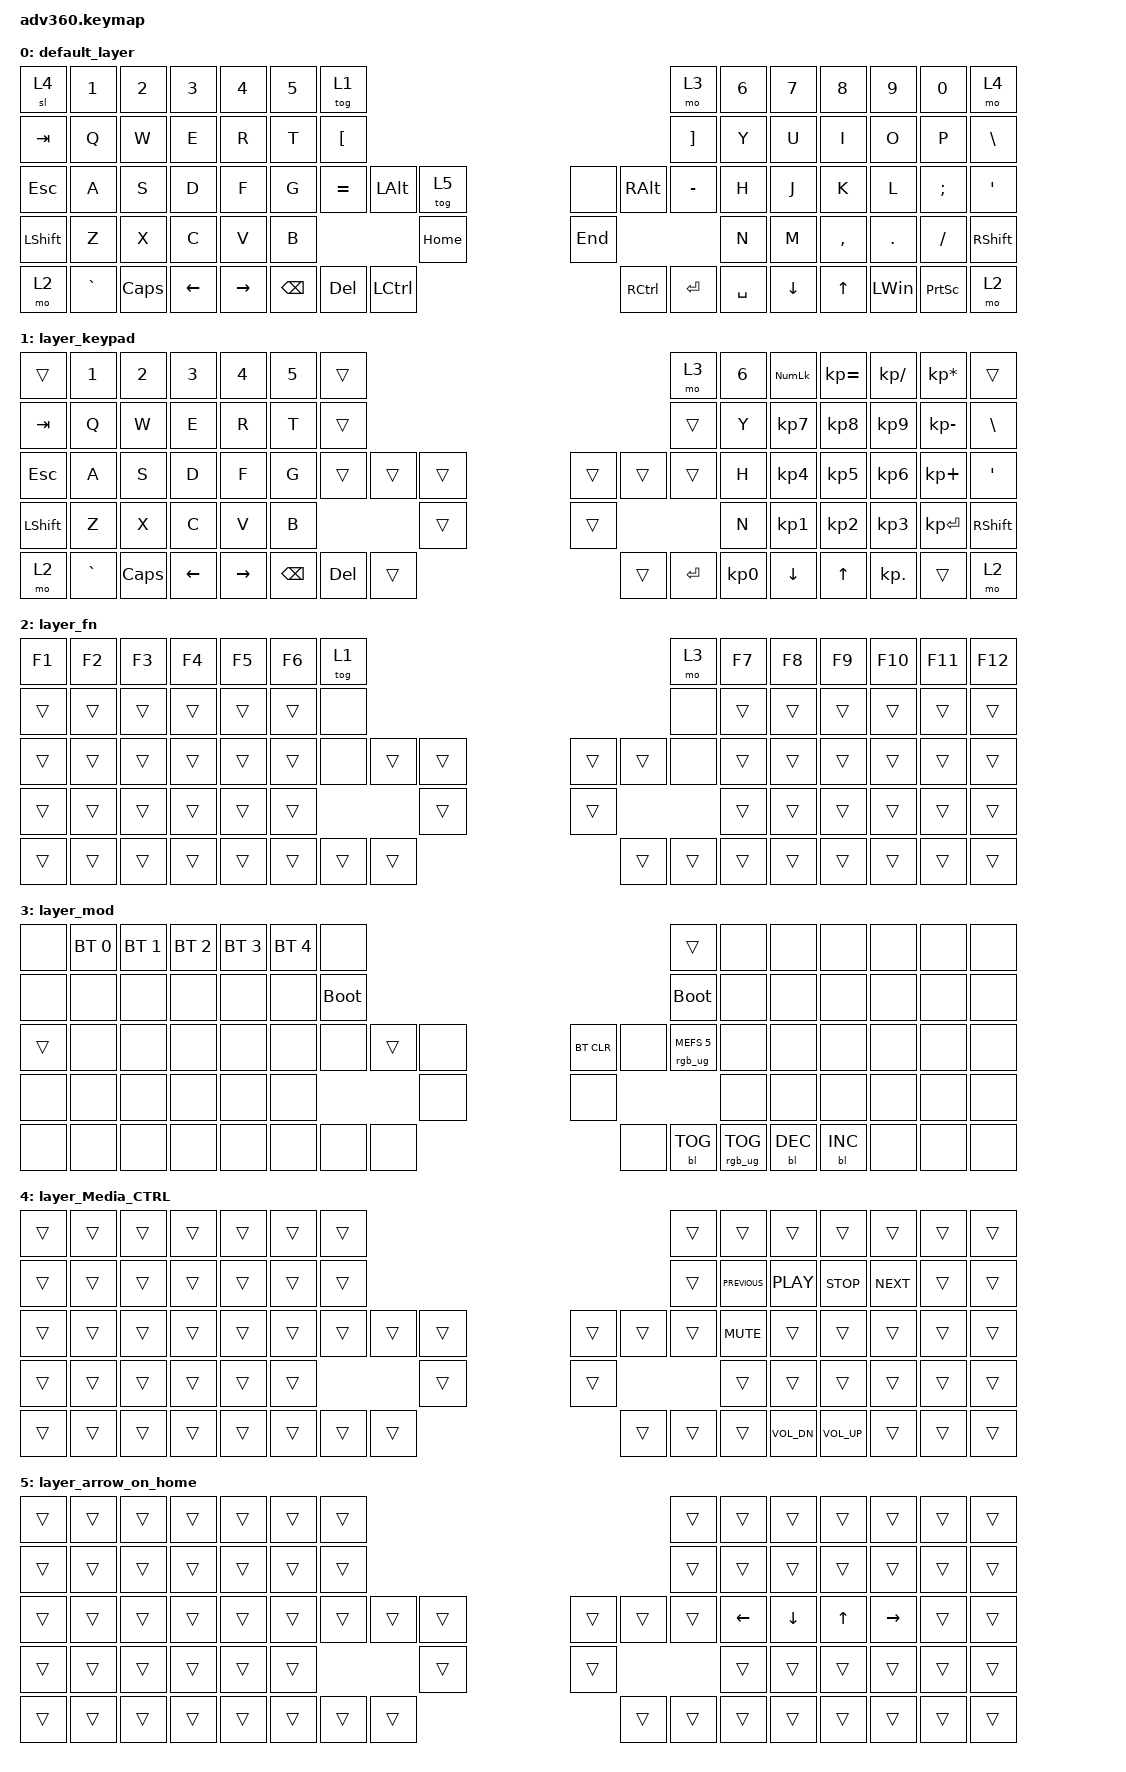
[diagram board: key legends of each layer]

/*
 * Copyright (c) 2020 The ZMK Contributors
 *
 * SPDX-License-Identifier: MIT
 */


/* THIS FILE WAS GENERATED!
 *
 * This file was generated automatically. You may or may not want to
 * edit it directly.
 */

#include <behaviors.dtsi>
#include <dt-bindings/zmk/keys.h>
#include <dt-bindings/zmk/bt.h>
#include <dt-bindings/zmk/rgb.h>
#include <dt-bindings/zmk/backlight.h>

/ {
  behaviors {
    #include "macros.dtsi"
    #include "version.dtsi"

    hm: homerow_mods {
        compatible = "zmk,behavior-hold-tap";
        label = "HOMEROW_MODS";
        #binding-cells = <2>;
        tapping-term-ms = <200>;
        quick_tap_ms = <175>;
        flavor = "tap-preferred";
        bindings = <&kp>, <&kp>;
    };
  };

    keymap {
        compatible = "zmk,keymap";


        default_layer {
            bindings = <
     &sl 4     &kp N1    &kp N2    &kp N3     &kp N4  &kp N5               &tog 1                                                                 &mo 3  &kp N6    &kp N7     &kp N8        &kp N9           &kp N0      &mo 4
   &kp TAB      &kp Q     &kp W     &kp E      &kp R   &kp T             &kp LBKT                                                              &kp RBKT   &kp Y     &kp U      &kp I         &kp O            &kp P   &kp BSLH
   &kp ESC      &kp A     &kp S     &kp D      &kp F   &kp G            &kp EQUAL  &kp LALT     &tog 5                      &none   &kp RALT  &kp MINUS   &kp H     &kp J      &kp K         &kp L         &kp SEMI    &kp SQT
 &kp LSHFT      &kp Z     &kp X     &kp C      &kp V   &kp B                                  &kp HOME                    &kp END                         &kp N     &kp M  &kp COMMA       &kp DOT         &kp FSLH  &kp RSHFT
     &mo 2  &kp GRAVE  &kp CAPS  &kp LEFT  &kp RIGHT                     &kp BSPC   &kp DEL  &kp LCTRL                  &kp RCTRL  &kp ENTER  &kp SPACE          &kp DOWN     &kp UP  &kp LEFT_WIN  &kp PRINTSCREEN      &mo 2
            >;
        };

        layer_keypad {
            bindings = <
    &trans     &kp N1    &kp N2    &kp N3     &kp N4  &kp N5              &trans                                                          &mo 3  &kp N6  &kp KP_NUM  &kp KP_EQUAL  &kp KP_DIVIDE  &kp KP_MULTIPLY     &trans
   &kp TAB      &kp Q     &kp W     &kp E      &kp R   &kp T              &trans                                                         &trans   &kp Y   &kp KP_N7     &kp KP_N8      &kp KP_N9     &kp KP_MINUS   &kp BSLH
   &kp ESC      &kp A     &kp S     &kp D      &kp F   &kp G              &trans   &trans  &trans                  &trans     &trans     &trans   &kp H   &kp KP_N4     &kp KP_N5      &kp KP_N6      &kp KP_PLUS    &kp SQT
 &kp LSHFT      &kp Z     &kp X     &kp C      &kp V   &kp B                               &trans                  &trans                         &kp N   &kp KP_N1     &kp KP_N2      &kp KP_N3     &kp KP_ENTER  &kp RSHFT
     &mo 2  &kp GRAVE  &kp CAPS  &kp LEFT  &kp RIGHT                    &kp BSPC  &kp DEL  &trans                  &trans  &kp ENTER  &kp KP_N0            &kp DOWN        &kp UP     &kp KP_DOT           &trans      &mo 2
            >;
        };

        layer_fn {
            bindings = <
 &kp F1  &kp F2  &kp F3  &kp F4  &kp F5  &kp F6            &tog 1                                                   &mo 3  &kp F7  &kp F8  &kp F9  &kp F10  &kp F11  &kp F12
 &trans  &trans  &trans  &trans  &trans  &trans             &none                                                   &none  &trans  &trans  &trans   &trans   &trans   &trans
 &trans  &trans  &trans  &trans  &trans  &trans             &none  &trans  &trans                  &trans  &trans   &none  &trans  &trans  &trans   &trans   &trans   &trans
 &trans  &trans  &trans  &trans  &trans  &trans                            &trans                  &trans                  &trans  &trans  &trans   &trans   &trans   &trans
 &trans  &trans  &trans  &trans  &trans                    &trans  &trans  &trans                  &trans  &trans  &trans          &trans  &trans   &trans   &trans   &trans
            >;
        };

        layer_mod {
            bindings = <
  &none  &bt BT_SEL 0  &bt BT_SEL 1  &bt BT_SEL 2  &bt BT_SEL 3  &bt BT_SEL 4                  &none                                                                          &trans   &none       &none       &none   &none   &none   &none
  &none         &none         &none         &none         &none         &none            &bootloader                                                                     &bootloader   &none       &none       &none   &none   &none   &none
 &trans         &none         &none         &none         &none         &none                  &none  &trans   &none                  &bt BT_CLR       &none  &rgb_ug RGB_MEFS_CMD 5   &none       &none       &none   &none   &none   &none
  &none         &none         &none         &none         &none         &none                                  &none                       &none                                       &none       &none       &none   &none   &none   &none
  &none         &none         &none         &none         &none                                &none   &none   &none                       &none  &bl BL_TOG         &rgb_ug RGB_TOG          &bl BL_DEC  &bl BL_INC   &none   &none   &none
            >;
        };

        layer_Media_CTRL {
            bindings = <
 &trans  &trans  &trans  &trans  &trans  &trans            &trans                                                  &trans          &trans        &trans        &trans      &trans  &trans  &trans
 &trans  &trans  &trans  &trans  &trans  &trans            &trans                                                  &trans  &kp C_PREVIOUS    &kp C_PLAY    &kp C_STOP  &kp C_NEXT  &trans  &trans
 &trans  &trans  &trans  &trans  &trans  &trans            &trans  &trans  &trans                  &trans  &trans  &trans      &kp C_MUTE        &trans        &trans      &trans  &trans  &trans
 &trans  &trans  &trans  &trans  &trans  &trans                            &trans                  &trans                          &trans        &trans        &trans      &trans  &trans  &trans
 &trans  &trans  &trans  &trans  &trans                    &trans  &trans  &trans                  &trans  &trans  &trans                  &kp C_VOL_DN  &kp C_VOL_UP      &trans  &trans  &trans
            >;
        };

        layer_arrow_on_home {
            bindings = <
 &trans  &trans  &trans  &trans  &trans  &trans            &trans                                                  &trans          &trans          &trans        &trans           &trans  &trans  &trans
 &trans  &trans  &trans  &trans  &trans  &trans            &trans                                                  &trans          &trans          &trans        &trans           &trans  &trans  &trans
 &trans  &trans  &trans  &trans  &trans  &trans            &trans  &trans  &trans                  &trans  &trans  &trans  &kp LEFT_ARROW  &kp DOWN_ARROW  &kp UP_ARROW  &kp RIGHT_ARROW  &trans  &trans
 &trans  &trans  &trans  &trans  &trans  &trans                            &trans                  &trans                          &trans          &trans        &trans           &trans  &trans  &trans
 &trans  &trans  &trans  &trans  &trans                    &trans  &trans  &trans                  &trans  &trans  &trans                          &trans        &trans           &trans  &trans  &trans
            >;
        };

    };
};
